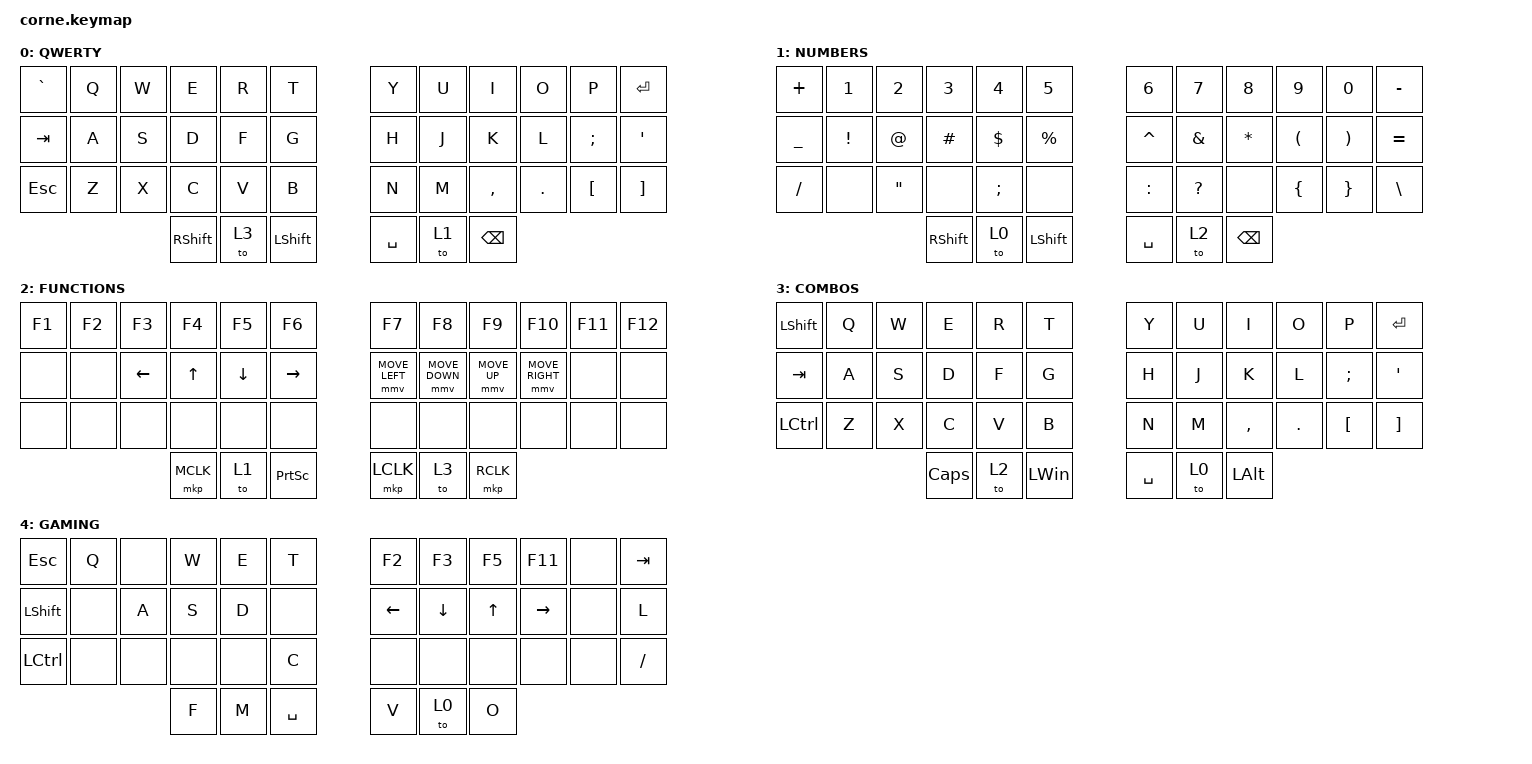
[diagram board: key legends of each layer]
/*
 * Copyright (c) 2020 The ZMK Contributors
 *
 * SPDX-License-Identifier: MIT
 */

#include <behaviors.dtsi>
#include <dt-bindings/zmk/keys.h>
#include <dt-bindings/zmk/pointing.h>

/ {
    combos {
        compatible = "zmk,combos";

        combo_Gaming {
            bindings = <&to 4>;
            key-positions = <0 24 38>;
            layers = <2>;
            timeout-ms = <100>;
        };
    };

    keymap {
        compatible = "zmk,keymap";

        QWERTY {
            display-name = "QWERTY";

            // -----------------------------------------------------------------------------------------
            // |  TAB |  Q  |  W  |  E  |  R  |  T  |   |  Y  |  U   |  I  |  O  |  P  | BSPC |
            // | CTRL |  A  |  S  |  D  |  F  |  G  |   |  H  |  J   |  K  |  L  |  ;  |  '   |
            // | SHFT |  Z  |  X  |  C  |  V  |  B  |   |  N  |  M   |  ,  |  .  |  /  | ESC  |
            //                    | GUI | LWR | SPC |   | ENT | RSE  | ALT |

            bindings = <
&kp GRAVE   &kp Q  &kp W  &kp E      &kp R  &kp T        &kp Y      &kp U  &kp I          &kp O    &kp P             &kp ENTER
&kp TAB     &kp A  &kp S  &kp D      &kp F  &kp G        &kp H      &kp J  &kp K          &kp L    &kp SEMI          &kp SQT
&kp ESCAPE  &kp Z  &kp X  &kp C      &kp V  &kp B        &kp N      &kp M  &kp COMMA      &kp DOT  &kp LEFT_BRACKET  &kp RIGHT_BRACKET
                          &kp RSHFT  &to 3  &kp LSHFT    &kp SPACE  &to 1  &kp BACKSPACE
            >;
        };

        NUMBERS {
            display-name = "NUMBERS";

            // -----------------------------------------------------------------------------------------
            // |  TAB |  1  |  2  |  3  |  4  |  5  |   |  6  |  7  |  8  |  9  |  0  | BSPC |
            // | BTCLR| BT1 | BT2 | BT3 | BT4 | BT5 |   | LFT | DWN |  UP | RGT |     |      |
            // | SHFT |     |     |     |     |     |   |     |     |     |     |     |      |
            //                    | GUI |     | SPC |   | ENT |     | ALT |

            bindings = <
&kp PLUS        &kp NUMBER_1     &kp NUMBER_2       &kp NUMBER_3  &kp NUMBER_4   &kp N5         &kp N6     &kp N7         &kp N8         &kp N9                &kp N0                 &kp MINUS
&kp UNDERSCORE  &kp EXCLAMATION  &kp AT_SIGN        &kp POUND     &kp DOLLAR     &kp PERCENT    &kp CARET  &kp AMPERSAND  &kp ASTERISK   &kp LEFT_PARENTHESIS  &kp RIGHT_PARENTHESIS  &kp EQUAL
&kp SLASH       &none            &kp DOUBLE_QUOTES  &none         &kp SEMICOLON  &none          &kp COLON  &kp QUESTION   &none          &kp LEFT_BRACE        &kp RIGHT_BRACE        &kp BACKSLASH
                                                    &kp RSHFT     &to 0          &kp LSHFT      &kp SPACE  &to 2          &kp BACKSPACE
            >;
        };

        FUNCTIONS {
            display-name = "FUNCTIONS";

            // -----------------------------------------------------------------------------------------
            // |  TAB |  !  |  @  |  #  |  $  |  %  |   |  ^  |  &  |  *  |  (  |  )  | BSPC |
            // | CTRL |     |     |     |     |     |   |  -  |  =  |  [  |  ]  |  \  |  `   |
            // | SHFT |     |     |     |     |     |   |  _  |  +  |  {  |  }  | "|" |  ~   |
            //                    | GUI |     | SPC |   | ENT |     | ALT |

            bindings = <
&kp F1  &kp F2  &kp F3    &kp F4        &kp F5    &kp F6             &kp F7          &kp F8          &kp F9        &kp F10          &kp F11  &kp F12
&none   &none   &kp LEFT  &kp UP_ARROW  &kp DOWN  &kp RIGHT_ARROW    &mmv MOVE_LEFT  &mmv MOVE_DOWN  &mmv MOVE_UP  &mmv MOVE_RIGHT  &none    &none
&none   &none   &none     &none         &none     &none              &none           &none           &none         &none            &none    &none
                          &mkp MCLK     &to 1     &kp PRINTSCREEN    &mkp LCLK       &to 3           &mkp RCLK
            >;
        };

        COMBOS {
            display-name = "COMBOS";
            bindings = <
&kp LSHIFT  &kp Q  &kp W  &kp E         &kp R  &kp T           &kp Y      &kp U  &kp I         &kp O    &kp P             &kp RETURN
&kp TAB     &kp A  &kp S  &kp D         &kp F  &kp G           &kp H      &kp J  &kp K         &kp L    &kp SEMI          &kp SQT
&kp LCTRL   &kp Z  &kp X  &kp C         &kp V  &kp B           &kp N      &kp M  &kp COMMA     &kp DOT  &kp LEFT_BRACKET  &kp RIGHT_BRACKET
                          &kp CAPSLOCK  &to 2  &kp LEFT_WIN    &kp SPACE  &to 0  &kp LEFT_ALT
            >;
        };

        GAMING {
            bindings = <
&kp ESC     &kp Q  &none  &kp W  &kp E  &kp T        &kp F2    &kp F3          &kp F5        &kp F11    &none  &kp TAB
&kp LSHIFT  &none  &kp A  &kp S  &kp D  &none        &kp LEFT  &kp DOWN_ARROW  &kp UP_ARROW  &kp RIGHT  &none  &kp L
&kp LCTRL   &none  &none  &none  &none  &kp C        &none     &none           &none         &none      &none  &kp SLASH
                          &kp F  &kp M  &kp SPACE    &kp V     &to 0           &kp O
            >;
        };
    };
};
